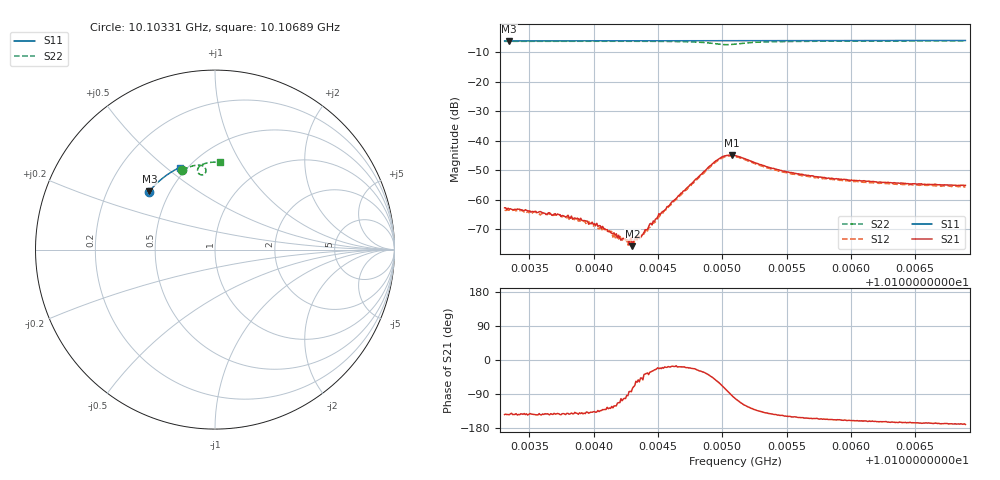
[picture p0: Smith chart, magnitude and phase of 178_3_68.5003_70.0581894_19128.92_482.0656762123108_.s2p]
#  HZ  S  RI  R  50.00
! Rohde & Schwarz Vector Network Analyzer
! Rohde-Schwarz,ZNB20-2Port,1311601062101988,3.16
! Created: UTC 3/20/2024, 5:11:44 PM
! freq[Hz]  re:S11  im:S11  re:S21  im:S21  re:S12  im:S12  re:S22  im:S22
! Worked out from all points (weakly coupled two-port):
!   401 points, 10.10331 GHz to 10.10689 GHz, reference 50 ohm
!   highest |S21| = -44.83 dB at 10.10507 GHz (marker M1); lowest = -75.7 dB at 10.1043 GHz (marker M2)
!   lowest |S11| = -6.2 dB at 10.10334 GHz (marker M3), VSWR 2.91, Z = 19.3 + j16.5 ohm
!   |S11| at or under -10 dB: nowhere
!   |S22| runs from -7.5 to -6.2 dB; largest |S21 - S12| = 0.0006
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1.0103308e10  -0.3667 0.3235  -0.000593 -0.000431  -0.000489 -0.000456  -0.1816 0.4454
1.0103343e10  -0.3652 0.325  -0.000566 -0.000403  -0.000519 -0.00043  -0.1794 0.4466
1.010372e10  -0.3504 0.3426  -0.000449 -0.000363  -0.000402 -0.000356  -0.1556 0.4562
1.0103908e10  -0.3425 0.351  -0.000343 -0.000295  -0.000307 -0.000298  -0.1432 0.4606
1.010397e10  -0.34 0.3539  -0.0003 -0.000263  -0.000279 -0.000282  -0.1389 0.4619
1.010406e10  -0.3363 0.3577  -0.000227 -0.000239  -0.000174 -0.000243  -0.1327 0.4637
1.0104123e10  -0.3338 0.3604  -0.000173 -0.000233  -0.000178 -0.000239  -0.1281 0.4652
1.0104159e10  -0.332 0.3619  -0.000143 -0.000236  -0.000118 -0.000243  -0.1256 0.4658
1.0104203e10  -0.3301 0.3639  -8.58e-05 -0.000206  -5.89e-05 -0.000246  -0.1222 0.4666
1.0104248e10  -0.3281 0.3658  -4.41e-05 -0.000213  -2.1e-05 -0.000204  -0.1188 0.4675
1.0104293e10  -0.3263 0.3678  2.44e-05 -0.000228  4.62e-05 -0.000167  -0.1153 0.4682
1.0104302e10  -0.326 0.3682  4.29e-05 -0.000159  8.77e-05 -0.00017  -0.1147 0.4684
1.0104374e10  -0.3226 0.3711  0.000166 -0.000181  0.000189 -0.000178  -0.1088 0.4695
1.0104508e10  -0.3167 0.3767  0.000537 -0.000227  0.000491 -0.000144  -0.097 0.4709
1.0104929e10  -0.2972 0.3932  0.00282 -0.00306  0.00298 -0.00263  -0.0503 0.44
1.0105001e10  -0.294 0.3958  0.00196 -0.00499  0.00234 -0.00458  -0.0597 0.4211
1.0105072e10  -0.2908 0.3984  -0.000301 -0.00572  0.000217 -0.00551  -0.0821 0.4181
1.0105099e10  -0.2896 0.3995  -0.00107 -0.0055  -0.000536 -0.00536  -0.0891 0.4222
1.0105386e10  -0.2758 0.4102  -0.00271 -0.00209  -0.0024 -0.00224  -0.0825 0.4672
1.0105699e10  -0.2603 0.4212  -0.00231 -0.00109  -0.0021 -0.00125  -0.0554 0.4797
1.01063e10  -0.2294 0.4403  -0.00188 -0.000534  -0.00175 -0.000685  -0.0117 0.4872
1.0106891e10  -0.1977 0.4569  -0.00173 -0.000306  -0.00161 -0.000432  0.0282 0.4884
